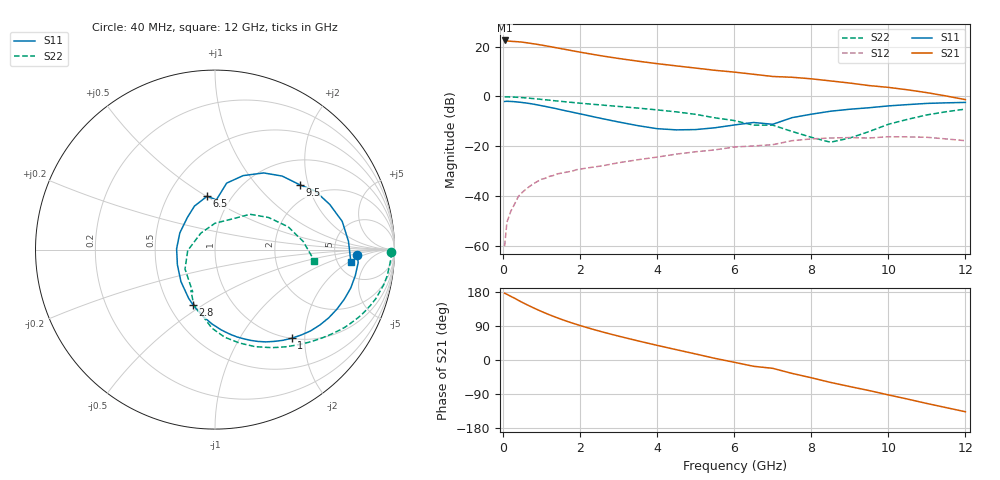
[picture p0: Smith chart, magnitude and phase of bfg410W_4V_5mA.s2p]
! Filename: 45bfg410.001
! BFG410W Field B1
! V1=8.484E-001V,V2=4.000E+000V, I1=6.284E-005A, I2=5.010E-003A
# GHz  S  MA  R 50
!  S11  S21  S12  S22
!Freq(GHz)  Mag  Ang  Mag  Ang  Mag  Ang  Mag  Ang
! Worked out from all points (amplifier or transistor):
!   44 points, 40 MHz to 12 GHz, reference 50 ohm
!   highest |S21| = 22.4 dB at 40 MHz (marker M1)
!   |S21| within 3 dB of that: start of sweep to 1.408 GHz
!   unconditionally stable (mu >= 1): start of sweep to 44.79 MHz; 2.551 GHz to end of sweep
!   at 700 MHz: K = 0.36, MSG = 28.6 dB, |S12| = -35.9 dB
!   at 2.4 GHz: K = 0.95, MSG = 22.4 dB, |S12| = -28.2 dB
!   at 12 GHz: K = 1.59, MAG = 3.7 dB, |S12| = -17.7 dB
!   S11 on the Smith chart (normalised r, x): 40 MHz: 8.47, -1.26; 1 GHz: 1.00, -1.73; 2.8 GHz: 0.66, -0.45; 6.5 GHz: 0.77, +0.51; 9.5 GHz: 1.58, +1.76; 12 GHz: 6.62, -2.15
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0.04  0.793 -2.0  13.25 176.2  0.001 37.8  0.981 -0.8
0.1  0.801 -5.2  12.94 173.5  0.003 74.2  0.982 -2.8
0.3  0.786 -15.8  12.62 162.9  0.007 75.6  0.97 -8.8
0.5  0.756 -26.0  12.24 151.9  0.012 70.9  0.947 -14.5
0.6  0.739 -30.9  11.96 146.8  0.014 68.8  0.936 -17.1
0.8  0.699 -40.4  11.34 137.1  0.018 64.4  0.905 -22.1
1  0.653 -49.2  10.7 127.9  0.022 60.5  0.873 -26.7
1.3  0.587 -61.2  9.712 115.5  0.026 55.7  0.827 -32.8
1.6  0.521 -72.3  8.807 104.2  0.03 52.0  0.784 -38.1
1.9  0.465 -82.4  7.978 94.2  0.034 49.1  0.746 -43.1
2.2  0.415 -92.2  7.258 84.9  0.037 46.8  0.711 -47.8
2.8  0.331 -111.7  6.091 68.1  0.044 43.0  0.65 -56.9
3.5  0.26 -137.0  5.096 50.5  0.054 38.2  0.585 -67.6
4.5  0.214 178.8  4.097 27.2  0.07 28.8  0.491 -83.7
5.5  0.236 130.8  3.344 4.3  0.085 15.3  0.373 -101.0
6.5  0.301 98.3  2.784 -16.6  0.102 2.9  0.266 -120.2
7  0.277 88.5  2.514 -22.0  0.108 9.2  0.266 -117.9
8  0.441 69.2  2.257 -46.9  0.141 -17.1  0.152 -178.1
8.5  0.506 57.6  2.049 -59.2  0.147 -29.8  0.121 130.7
9.5  0.594 37.5  1.652 -80.6  0.147 -49.9  0.198 60.0
10.5  0.687 21.5  1.359 -103.2  0.155 -70.9  0.348 30.9
12  0.76 -5.2  0.864 -136.5  0.13 -110.5  0.558 -6.6
